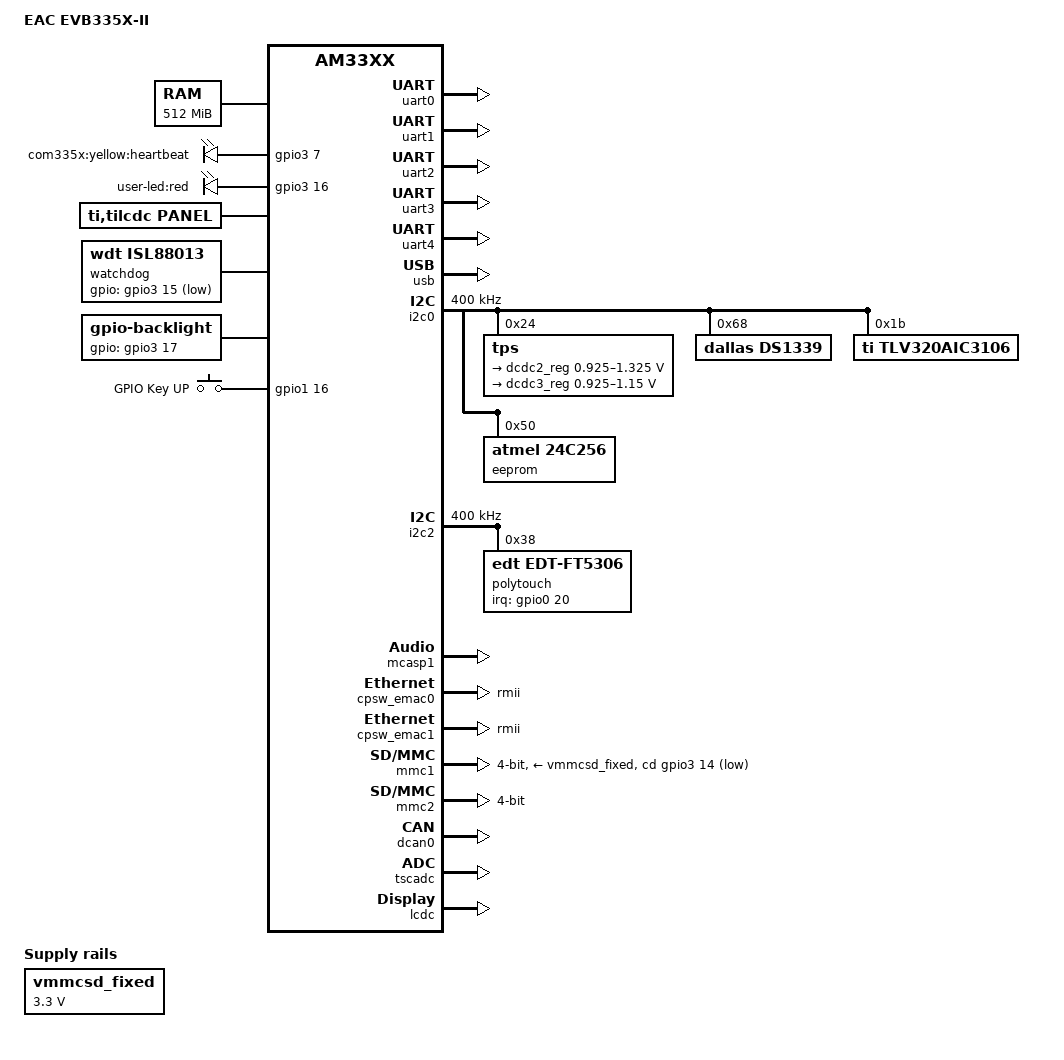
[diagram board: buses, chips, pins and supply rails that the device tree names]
/*
 * Copyright (C) 2012 Texas Instruments Incorporated - http://www.ti.com/
 *
 * This program is free software; you can redistribute it and/or modify
 * it under the terms of the GNU General Public License version 2 as
 * published by the Free Software Foundation.
 */
/dts-v1/;

#include "am33xx.dtsi"

/ {
	model = "EAC EVB335X-II";
	compatible = "ti,com335x", "ti,am33xx";

	cpus {
		cpu@0 {
			cpu0-supply = <&dcdc2_reg>;	/* mpu supply 1.1V */
		};
	};

	memory {
		device_type = "memory";
		reg = <0x80000000 0x20000000>; /* 512 MB */
	};

	leds {
		pinctrl-names = "default";
		pinctrl-0 = <&user_leds_s0>;

		compatible = "gpio-leds";

		led@2 {
			label = "com335x:yellow:heartbeat";
			gpios = <&gpio3 7 GPIO_ACTIVE_HIGH>;
			linux,default-trigger = "heartbeat";
			default-state = "off";
		};

		led@3 {
			label = "user-led:red";
			gpios = <&gpio3 16 GPIO_ACTIVE_HIGH>;
			linux,default-trigger = "none";
			default-state = "off";
		};
		};

	vmmcsd_fixed: fixedregulator@0 {
		compatible = "regulator-fixed";
		regulator-name = "vmmcsd_fixed";
		regulator-min-microvolt = <3300000>;
		regulator-max-microvolt = <3300000>;
	};

	panel {
		compatible = "ti,tilcdc,panel";
		status = "okay";
		pinctrl-names = "default";
		pinctrl-0 = <&lcd_pins_s0>;
		panel-info {
			ac-bias           = <255>;
			ac-bias-intrpt    = <0>;
			dma-burst-sz      = <16>;
			bpp               = <16>;
			fdd               = <0x80>;
			sync-edge         = <0>;
			sync-ctrl         = <1>;
			raster-order      = <0>;
			fifo-th           = <0>;
		};

		display-timings {
			800x480p62 {
				clock-frequency = <33000000>;
				hactive = <800>;
				vactive = <480>;
				hfront-porch = <30>;
				hback-porch = <24>;
				hsync-len = <20>;
				vback-porch = <22>;
				vfront-porch = <13>;
				vsync-len = <10>;
				hsync-active = <1>;
				vsync-active = <1>;
			};
		};
	};

	sound {
		compatible = "ti,da830-evm-audio";
		ti,model = "AM335x-EVM";
		ti,audio-codec = <&tlv320aic3106>;
		ti,mcasp-controller = <&mcasp1>;
		ti,codec-clock-rate = <24576000>;
		ti,audio-routing =
			"Headphone Jack",       "HPLOUT",
			"Headphone Jack",       "HPROUT",
//			"LINE1L",               "Line In",
//			"LINE1R",               "Line In",
//			"Line Out",             "LLOUT",
//			"Line Out",             "RLOUT",
			"MIC3L",                "Mic Bias",
			"MIC3R",                "Mic Bias",
			"Mic Bias",         	"Mic Jack";

	};

	watchdog: watchdog {
		pinctrl-names = "default";
		pinctrl-0 = <&wdt_pins>;		

		compatible = "wdt,isl88013";
		gpios = <&gpio3 15 GPIO_ACTIVE_LOW>;
	};

	backlight: backlight { 
		pinctrl-names = "default";
		pinctrl-0 = <&backlight_pins>;	

		compatible = "gpio-backlight";
		gpios = <&gpio3 17 GPIO_ACTIVE_HIGH>;
		default-on;
	}; 

/*by  alex :add  gpio-keys function ,2015-10-26 */
#if 0
/* gpio-keys-poll */
   gpio_keys_polled {
		compatible = "gpio-keys-polled";
		#address-cells = <1>;
		#size-cells = <0>;
		poll-interval = <100>;
		autorepeat;
		button@48{
			label = "GPIO Key UP";
			linux,code = <103>;
			gpios = <&gpio1 16 0>;
		};

	};
#endif

#if 1
/* gpio-keys-interrupt */
   gpio_keys {
		compatible = "gpio-keys";
		#address-cells = <1>;
		#size-cells = <0>;
		autorepeat;
		button@21 {
			label = "GPIO Key UP";
			linux,code = <103>;
			gpios = <&gpio1 16 0>;
		};
	};
#endif


};



&am33xx_pinmux {
	pinctrl-names = "default";
//	pinctrl-0 = <&clkout2_pin>;

	user_leds_s0: user_leds_s0 {
		pinctrl-single,pins = <
			0x1E4 (PIN_OUTPUT_PULLUP | MUX_MODE7)	/* emu0.gpio3_7 */
			0x198 (PIN_OUTPUT | MUX_MODE7)	/* mcasp0_axr0.gpio3_16 */
		>;
	};

	i2c0_pins: pinmux_i2c0_pins {
		pinctrl-single,pins = <
			0x188 (PIN_INPUT_PULLUP | MUX_MODE0)	/* i2c0_sda.i2c0_sda */
			0x18c (PIN_INPUT_PULLUP | MUX_MODE0)	/* i2c0_scl.i2c0_scl */
		>;
	};

	i2c1_pins: pinmux_i2c1_pins {
		pinctrl-single,pins = <
			0x168 (PIN_INPUT_PULLUP | MUX_MODE3)	/* uart0_ctsn.i2c1_sda */
			0x16c (PIN_INPUT_PULLUP | MUX_MODE3)	/* uart0_rtsn.i2c1_scl */
		>;
	};

	i2c2_pins: pinmux_i2c2_pins {
		pinctrl-single,pins = <
			0x178 (PIN_INPUT_PULLUP | MUX_MODE3)	/* uart1_ctsn.i2c2_sda */
			0x17c (PIN_INPUT_PULLUP | MUX_MODE3)	/* uart1_rtsn.i2c2_scl */
		>;
	};

	uart0_pins: pinmux_uart0_pins {
		pinctrl-single,pins = <
			0x170 (PIN_INPUT_PULLUP | MUX_MODE0)	/* uart0_rxd.uart0_rxd */
			0x174 (PIN_OUTPUT_PULLDOWN | MUX_MODE0)	/* uart0_txd.uart0_txd */
		>;
	};

	uart1_pins: pinmux_uart1_pins {
		pinctrl-single,pins = <
			0x180 (PIN_INPUT_PULLUP | MUX_MODE0)	/* uart1_rxd.uart1_rxd */
			0x184 (PIN_OUTPUT_PULLDOWN | MUX_MODE0)	/* uart1_txd.uart1_txd */
		>;
	};

	uart2_pins: pinmux_uart2_pins {
		pinctrl-single,pins = <
			0x12c (PIN_INPUT_PULLUP | MUX_MODE1)	/* mii1_txclk.uart2_rxd */
			0x130 (PIN_OUTPUT_PULLDOWN | MUX_MODE1)	/* mii1_rxclk.uart2_txd */
		>;
	};

	uart3_pins: pinmux_uart3_pins {
		pinctrl-single,pins = <
			0x134 (PIN_INPUT_PULLUP | MUX_MODE1)	/* mii1_rxd3.uart3_rxd */
			0x138 (PIN_OUTPUT_PULLDOWN | MUX_MODE1)	/* mii1_rxd2.uart3_txd */
		>;
	};
	
	uart4_pins: pinmux_uart4_pins {
		pinctrl-single,pins = <
			0x168 (PIN_INPUT_PULLUP | MUX_MODE1)	/* uart0_ctsn.uart4_rxd */
			0x16c (PIN_OUTPUT_PULLDOWN | MUX_MODE1)	/* uart0_rtsn.uart4_txd */
		>;
	};

	cpsw_default: cpsw_default {
		pinctrl-single,pins = <
			/* Slave 1 */	
			0x10c (PIN_INPUT_PULLDOWN | MUX_MODE1) /*mii1_crs.rmii1_crs_dv*/
			0x110 (PIN_INPUT_PULLDOWN | MUX_MODE1) /*mii1_rxerr.mii1_rxerr*/
			0x114 (PIN_OUTPUT_PULLDOWN | MUX_MODE1) /*mii1_txen.mii1_txen*/
			0x124 (PIN_OUTPUT_PULLDOWN | MUX_MODE1) /*mii1_txd1.mii1_txd1*/
			0x128 (PIN_OUTPUT_PULLDOWN | MUX_MODE1) /*mii1_txd0.mii1_txd0*/
			0x13c (PIN_INPUT_PULLDOWN | MUX_MODE1)	/* mii1_rxd1.mii1_rxd1 */			
			0x140 (PIN_INPUT_PULLDOWN | MUX_MODE1)	/* mii1_rxd0.rgmii1_rxd0 */
			0x144 (PIN_INPUT_PULLDOWN | MUX_MODE0)	/* mrmii1_refclk.rmii1_refclk */
		>;

	};

	cpsw_sleep: cpsw_sleep {
		pinctrl-single,pins = <
			/* Slave 1 reset value */
			0x10c (PIN_INPUT_PULLDOWN | MUX_MODE7) 
			0x110 (PIN_INPUT_PULLDOWN | MUX_MODE7) 
			0x114 (PIN_INPUT_PULLDOWN | MUX_MODE7)
			0x124 (PIN_INPUT_PULLDOWN | MUX_MODE7) 
			0x128 (PIN_INPUT_PULLDOWN | MUX_MODE7) 
			0x13c (PIN_INPUT_PULLDOWN | MUX_MODE7)				
			0x140 (PIN_INPUT_PULLDOWN | MUX_MODE7)	
			0x144 (PIN_INPUT_PULLDOWN | MUX_MODE7)

		>;
	};

	davinci_mdio_default: davinci_mdio_default {
		pinctrl-single,pins = <
			/* MDIO */
			0x148 (PIN_INPUT_PULLUP |  MUX_MODE0)	/* mdio_data.mdio_data */
			0x14c (PIN_OUTPUT_PULLUP | MUX_MODE0)	/* mdio_clk.mdio_clk */
		>;
	};

	davinci_mdio_sleep: davinci_mdio_sleep {
		pinctrl-single,pins = <
			/* MDIO reset value */
			0x148 (PIN_INPUT_PULLDOWN | MUX_MODE7)
			0x14c (PIN_INPUT_PULLDOWN | MUX_MODE7)
		>;
	};

	mmc1_pins: pinmux_mmc1_pins {
		pinctrl-single,pins = <
			0x190 (PIN_INPUT_PULLUP | MUX_MODE7) /* mcasp0_aclkx.gpio3_14 */
			0xF0 (PIN_INPUT_PULLUP | MUX_MODE0) /* mmc0_dat3.mmc0_dat3 */
			0xF4 (PIN_INPUT_PULLUP | MUX_MODE0) /* mmc0_dat2.mmc0_dat2 */
			0xF8 (PIN_INPUT_PULLUP | MUX_MODE0) /* mmc0_dat1.mmc0_dat1 */
			0xFc (PIN_INPUT_PULLUP | MUX_MODE0) /* mmc0_dat0.mmc0_dat0 */
			0x100 (PIN_INPUT_PULLUP | MUX_MODE0) /* mmc0_clk.mmc0_clk */
			0x104 (PIN_INPUT_PULLUP | MUX_MODE0) /* mmc0_cmd.mmc0_cmd */
		>;
	};

	emmc_pins: pinmux_emmc_pins {
		pinctrl-single,pins = <
			0x80 (PIN_INPUT_PULLUP | MUX_MODE2) /* gpmc_csn1.mmc1_clk */
			0x84 (PIN_INPUT_PULLUP | MUX_MODE2) /* gpmc_csn2.mmc1_cmd */
			0x00 (PIN_INPUT_PULLUP | MUX_MODE1) /* gpmc_ad0.mmc1_dat0 */
			0x04 (PIN_INPUT_PULLUP | MUX_MODE1) /* gpmc_ad1.mmc1_dat1 */
			0x08 (PIN_INPUT_PULLUP | MUX_MODE1) /* gpmc_ad2.mmc1_dat2 */
			0x0c (PIN_INPUT_PULLUP | MUX_MODE1) /* gpmc_ad3.mmc1_dat3 */
		>;
	};

	lcd_pins_s0: lcd_pins_s0 {
		pinctrl-single,pins = <
			0x20 (PIN_OUTPUT | MUX_MODE1)		/* gpmc_ad8.lcd_data23 */
			0x24 (PIN_OUTPUT | MUX_MODE1)		/* gpmc_ad9.lcd_data22 */
			0x28 (PIN_OUTPUT | MUX_MODE1)		/* gpmc_ad10.lcd_data21 */
			0x2c (PIN_OUTPUT | MUX_MODE1)		/* gpmc_ad11.lcd_data20 */
			0x30 (PIN_OUTPUT | MUX_MODE1)		/* gpmc_ad12.lcd_data19 */
			0x34 (PIN_OUTPUT | MUX_MODE1)		/* gpmc_ad13.lcd_data18 */
			0x38 (PIN_OUTPUT | MUX_MODE1)		/* gpmc_ad14.lcd_data17 */
			0x3c (PIN_OUTPUT | MUX_MODE1)		/* gpmc_ad15.lcd_data16 */
			0xa0 (PIN_OUTPUT | MUX_MODE0)		/* lcd_data0.lcd_data0 */
			0xa4 (PIN_OUTPUT | MUX_MODE0)		/* lcd_data1.lcd_data1 */
			0xa8 (PIN_OUTPUT | MUX_MODE0)		/* lcd_data2.lcd_data2 */
			0xac (PIN_OUTPUT | MUX_MODE0)		/* lcd_data3.lcd_data3 */
			0xb0 (PIN_OUTPUT | MUX_MODE0)		/* lcd_data4.lcd_data4 */
			0xb4 (PIN_OUTPUT | MUX_MODE0)		/* lcd_data5.lcd_data5 */
			0xb8 (PIN_OUTPUT | MUX_MODE0)		/* lcd_data6.lcd_data6 */
			0xbc (PIN_OUTPUT | MUX_MODE0)		/* lcd_data7.lcd_data7 */
			0xc0 (PIN_OUTPUT | MUX_MODE0)		/* lcd_data8.lcd_data8 */
			0xc4 (PIN_OUTPUT | MUX_MODE0)		/* lcd_data9.lcd_data9 */
			0xc8 (PIN_OUTPUT | MUX_MODE0)		/* lcd_data10.lcd_data10 */
			0xcc (PIN_OUTPUT | MUX_MODE0)		/* lcd_data11.lcd_data11 */
			0xd0 (PIN_OUTPUT | MUX_MODE0)		/* lcd_data12.lcd_data12 */
			0xd4 (PIN_OUTPUT | MUX_MODE0)		/* lcd_data13.lcd_data13 */
			0xd8 (PIN_OUTPUT | MUX_MODE0)		/* lcd_data14.lcd_data14 */
			0xdc (PIN_OUTPUT | MUX_MODE0)		/* lcd_data15.lcd_data15 */
			0xe0 (PIN_OUTPUT | MUX_MODE0)		/* lcd_vsync.lcd_vsync */
			0xe4 (PIN_OUTPUT | MUX_MODE0)		/* lcd_hsync.lcd_hsync */
			0xe8 (PIN_OUTPUT | MUX_MODE0)		/* lcd_pclk.lcd_pclk */
			0xec (PIN_OUTPUT | MUX_MODE0)		/* lcd_ac_bias_en.lcd_ac_bias_en */
		>;
	};

	com335x_audio_pins: com335x_audio_pins {
		pinctrl-single,pins = <
			0x1a0 (PIN_INPUT_PULLDOWN | MUX_MODE3) /* mcasp0_aclkr.mcasp1_aclkx   BCLK*/
			0x1a4 (PIN_INPUT_PULLDOWN | MUX_MODE3) /* mcasp0_fsr.mcasp1_fsx 	LRCLK*/
			0x1a8 (PIN_OUTPUT_PULLDOWN | MUX_MODE3) /* mcasp0_axr1.mcasp1_axr0  Data out*/
			0x1ac (PIN_INPUT_PULLDOWN | MUX_MODE3) /* mcasp0_ahclkx.mcasp1_axr1 Data in*/
		>;
	};

	com335x_dcan0_pins:com335x_dcan0_pins {
		pinctrl-single,pins = <
			0x11c (PIN_OUTPUT | MUX_MODE1) /* mii1_txd3.d_can0_tx*/
			0x120 (PIN_INPUT_PULLDOWN | MUX_MODE1) /* mii1_txd2.d_can0_rx*/
		>;	
	};

	wdt_pins:wdt_pins {
		pinctrl-single,pins = <
			0x194 (PIN_OUTPUT_PULLDOWN | MUX_MODE7)	/* mcasp0_fsx.gpio3_15 */
		>;		
	};

	backlight_pins:backlight_pins {
		pinctrl-single,pins = <
			0x19c (PIN_OUTPUT_PULLUP | MUX_MODE7)	/* mcasp0_ahclkr.gpio3_17 */
		>;		
	};

	edt_ft5x06_pins:edt_ft5x06_pins{
		pinctrl-single,pins = <
			0x1B4 (PIN_INPUT | MUX_MODE7)	/* xdma_event_intr1.gpio0_20 */
		>;		
	};

#if 0
	com335x_usb0_pins: com335x_usb0_pins {
		pinctrl-single,pins = <
			0x21c (PIN_OUTPUT | MUX_MODE0)	/*usb0_drvvbus.usb0_drvvbus*/
		>;
	};
	
	com335x_usb1_pins: com335x_usb1_pins {
		pinctrl-single,pins = <
			0x234 (PIN_OUTPUT | MUX_MODE0)	/*usb1_drvvbus.usb1_drvvbus*/
		>;
	};
#endif
};

&uart0 {
	pinctrl-names = "default";
	pinctrl-0 = <&uart0_pins>;

	status = "okay";
};

&uart1 {
	pinctrl-names = "default";
	pinctrl-0 = <&uart1_pins>;

	status = "okay";
};

&uart2 {
	pinctrl-names = "default";
	pinctrl-0 = <&uart2_pins>;

	status = "okay";
};

&uart3 {
	pinctrl-names = "default";
	pinctrl-0 = <&uart3_pins>;

	status = "okay";
};

&uart4 {
	pinctrl-names = "default";
	pinctrl-0 = <&uart4_pins>;

	status = "okay";
};

&usb {
	status = "okay";

	control@44e10620 {
		status = "okay";
	};

	usb-phy@47401300 {
		status = "okay";
	};

	usb-phy@47401b00 {
		status = "okay";
	};

	usb@47401000 {
		status = "okay";
		dr_mode = "otg";
	};

	usb@47401800 {
		status = "okay";
		dr_mode = "host";
	};

	dma-controller@47402000  {
		status = "okay";
	};
};

&i2c0 {
	pinctrl-names = "default";
	pinctrl-0 = <&i2c0_pins>;

	status = "okay";
	clock-frequency = <400000>;

	tps: tps@24 {
		reg = <0x24>;
	};

	ds1339: rtc@68 {
		compatible = "dallas,ds1339";
		trickle-resistor-ohms = <250>;
		reg = <0x68>;
	};

	tlv320aic3106: tlv320aic3106@1b{
		compatible = "ti,tlv320aic3106";
		reg = <0x1b>;
		status = "okay";

	};
	eeprom:eeprom@50 {
		compatible = "atmel,24c256";
		reg = <0x50>;
		pagesize = <64>;
	};

};

&i2c1 {
	pinctrl-names = "default";
	pinctrl-0 = <&i2c1_pins>;

	status = "disabled";
	clock-frequency = <400000>;

	fram:fram@50 {
		compatible = "atmel,24c16";
		reg = <0x50>;
		pagesize = <16>;
	};
};

&i2c2 {
	pinctrl-names = "default";
	pinctrl-0 = <&i2c2_pins>;

	status = "okay";
	clock-frequency = <400000>;

	polytouch: edt-ft5x06@38 { 
		compatible = "edt,edt-ft5306", "edt,edt-ft5x06";
		reg = <0x38>;
		pinctrl-names = "default";
		pinctrl-0 = <&edt_ft5x06_pins>;
		interrupt-parent = <&gpio0>;
		interrupts = <20 0>;
	};
};

/include/ "tps65217.dtsi"

&tps {
	regulators {
		dcdc1_reg: regulator@0 {
			regulator-always-on;
		};

		dcdc2_reg: regulator@1 {
			/* VDD_MPU voltage limits 0.95V - 1.26V with +/-4% tolerance */
			regulator-name = "vdd_mpu";
			regulator-min-microvolt = <925000>;
			regulator-max-microvolt = <1325000>;
			regulator-boot-on;
			regulator-always-on;
		};

		dcdc3_reg: regulator@2 {
			/* VDD_CORE voltage limits 0.95V - 1.1V with +/-4% tolerance */
			regulator-name = "vdd_core";
			regulator-min-microvolt = <925000>;
			regulator-max-microvolt = <1150000>;
			regulator-boot-on;
			regulator-always-on;
		};

		ldo1_reg: regulator@3 {
			regulator-always-on;
		};

		ldo2_reg: regulator@4 {
			regulator-always-on;
		};

		ldo3_reg: regulator@5 {
			regulator-always-on;
		};

		ldo4_reg: regulator@6 {
			regulator-always-on;
		};
	};
};

&mcasp1 {
		pinctrl-names = "default";
		pinctrl-0 = <&com335x_audio_pins>;

		status = "okay";

		op-mode = <0>;          /* MCASP_IIS_MODE */
		tdm-slots = <2>;
		/* 4 serializers */
		serial-dir = <  /* 0: INACTIVE, 1: TX, 2: RX */
			1 2 0 0
		>;
		tx-num-evt = <1>;
		rx-num-evt = <1>;
};

&mac {
	pinctrl-names = "default", "sleep";
	pinctrl-0 = <&cpsw_default>;
	pinctrl-1 = <&cpsw_sleep>;

};

&davinci_mdio {
	pinctrl-names = "default", "sleep";
	pinctrl-0 = <&davinci_mdio_default>;
	pinctrl-1 = <&davinci_mdio_sleep>;
};

&cpsw_emac0 {
	phy_id = <&davinci_mdio>, <0>;
	phy-mode = "rmii";
};

&cpsw_emac1 {
	phy_id = <&davinci_mdio>, <1>;
	phy-mode = "rmii";
};


&phy_sel {
	rmii-clock-ext;
};


&mmc1 {
	vmmc-supply = <&vmmcsd_fixed>;
	pinctrl-names = "default";
	pinctrl-0 = <&mmc1_pins>;
	bus-width = <0x4>;
	cd-gpios = <&gpio3 14 GPIO_ACTIVE_LOW>;
	status = "okay";
	ti,vcc-aux-disable-is-sleep;
};

&mmc2 {
	status = "okay";
//	vmmc-supply = <&vmmcsd_fixed>;
	bus-width = <0x4>;
	pinctrl-names = "default";
	pinctrl-0 = <&emmc_pins>;
	cd-inverted;
};

&wkup_m3 {
	ti,scale-data-fw = "am335x-evm-scale-data.bin";
};

&dcan0 {
	status = "okay";	
	pinctrl-names = "default";
	pinctrl-0 = <&com335x_dcan0_pins>;
};

&tscadc {
	status = "okay";
	tsc {
		ti,wires = <4>;
		ti,x-plate-resistance = <200>;
		ti,coordinate-readouts = <5>;
		ti,wire-config = <0x00 0x11 0x22 0x33>;
//		ti,charge-delay = <0x500>;
	};

	adc { 
		ti,adc-channels = <4 5 6 7>;
	};	

};

&lcdc {
	status = "okay";
};



